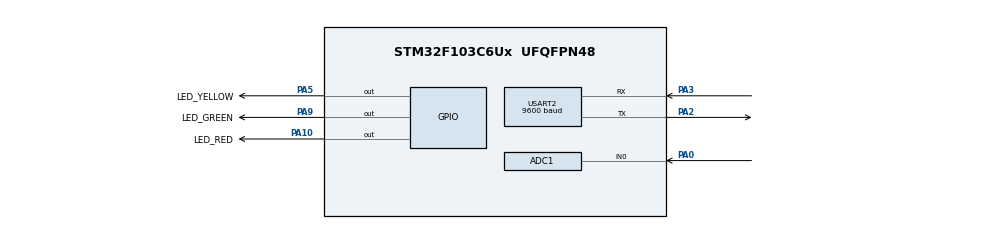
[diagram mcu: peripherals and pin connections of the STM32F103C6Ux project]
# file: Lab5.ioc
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ADC1.Channel-0\#ChannelRegularConversion=ADC_CHANNEL_0
ADC1.ContinuousConvMode=ENABLE
ADC1.NbrOfConversionFlag=1
ADC1.Rank-0\#ChannelRegularConversion=1
ADC1.SamplingTime-0\#ChannelRegularConversion=ADC_SAMPLETIME_1CYCLE_5
ADC1.master=1
Mcu.Family=STM32F1
Mcu.Name=STM32F103C6Ux
Mcu.Package=UFQFPN48
NVIC.PriorityGroup=NVIC_PRIORITYGROUP_4
NVIC.TIM2_IRQn=true\:0\:0\:false\:false\:true\:true\:true
NVIC.USART2_IRQn=true\:0\:0\:false\:false\:true\:true\:true
PA0-WKUP.Signal=ADCx_IN0
PA10.GPIO_Label=LED_RED
PA10.Signal=GPIO_Output
PA2.Mode=Asynchronous
PA2.Signal=USART2_TX
PA3.Mode=Asynchronous
PA3.Signal=USART2_RX
PA5.GPIO_Label=LED_YELLOW
PA5.Signal=GPIO_Output
PA9.GPIO_Label=LED_GREEN
PA9.Signal=GPIO_Output
ProjectManager.HeapSize=0x200
ProjectManager.StackSize=0x400
ProjectManager.TargetToolchain=STM32CubeIDE
RCC.APB1Freq_Value=8000000
RCC.APB2Freq_Value=8000000
SH.ADCx_IN0.0=ADC1_IN0,IN0
TIM2.Period=9
TIM2.Prescaler=7999
USART2.BaudRate=9600
USART2.VirtualMode=VM_ASYNC
VP_SYS_VS_ND.Mode=No_Debug
VP_TIM2_VS_ClockSourceINT.Mode=Internal
board=custom

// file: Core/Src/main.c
/* USER CODE BEGIN Header */
/**
  ******************************************************************************
  * @file           : main.c
  * @brief          : Main program body
  ******************************************************************************
  * @attention
  *
  * <h2><center>&copy; Copyright (c) 2024 STMicroelectronics.
  * All rights reserved.</center></h2>
  *
  * This software component is licensed by ST under BSD 3-Clause license,
  * the "License"; You may not use this file except in compliance with the
  * License. You may obtain a copy of the License at:
  *                        opensource.org/licenses/BSD-3-Clause
  *
  ******************************************************************************
  */
/* USER CODE END Header */
#include "main.h"

/* USER CODE BEGIN Includes */
#include "global.h"
/* USER CODE END Includes */

/* USER CODE BEGIN PM */
//#define MAX_BUFFER_SIZE		30
//#define	TIMEOUT				3000	//ms
/* USER CODE END PM */

ADC_HandleTypeDef hadc1;

TIM_HandleTypeDef htim2;

UART_HandleTypeDef huart2;

void SystemClock_Config(void);
static void MX_GPIO_Init(void);
static void MX_ADC1_Init(void);
static void MX_USART2_UART_Init(void);
static void MX_TIM2_Init(void);

/* USER CODE BEGIN 0 */

//uint8_t temp = 0;
void HAL_UART_RxCpltCallback(UART_HandleTypeDef *huart)
{

	if (huart->Instance == USART2) {
		buffer[index_buffer++] = temp;	// Add received byte to buffer
		if (index_buffer >= MAX_BUFFER_SIZE) {
			index_buffer = 0;	// Wrap around if buffer overflows
		}
		buffer_flag = 1;	// Signal new data in buffer
		HAL_UART_Receive_IT(&huart2, &temp, 1);		// Re-enable UART receive interrupt
	}

	//-------------Example code---------------------
//	if (huart->Instance == USART2) {
//		HAL_UART_Transmit(&huart2, &temp, 1, 50);
//		HAL_UART_Receive_IT(&huart2, &temp, 1);
//	}
	//-------------Example code---------------------
}
/* USER CODE END 0 */

int main(void)
{

  /* MCU Configuration--------------------------------------------------------*/

  /* Reset of all peripherals, Initializes the Flash interface and the Systick. */
  HAL_Init();

  /* Configure the system clock */
  SystemClock_Config();

  /* Initialize all configured peripherals */
  MX_GPIO_Init();
  MX_ADC1_Init();
  MX_USART2_UART_Init();
  MX_TIM2_Init();
  /* USER CODE BEGIN 2 */
  HAL_UART_Receive_IT(&huart2, &temp, 1);
  HAL_ADC_Start(&hadc1);
  HAL_TIM_Base_Start_IT(&htim2);
  /* USER CODE END 2 */

  /* Infinite loop */
  /* USER CODE BEGIN WHILE */

//  uint32_t ADC_value = 0;
//  char str[20];

  setTimerForWaitingOK(2000);
  while (1)
  {
    /* USER CODE END WHILE */

    /* USER CODE BEGIN 3 */

	  if (buffer_flag == 1) {
		  command_parser_fsm();		//Parse received buffer
		  buffer_flag = 0;

		  //test
		  HAL_GPIO_TogglePin(LED_YELLOW_GPIO_Port, LED_YELLOW_Pin);
	  }
	  uart_communication_fsm();
//
//	  HAL_Delay(500);

	  //---------------TEST TIMER-----------------------
//	  if (waitOK_flag == 1) {
//		  setTimerForWaitingOK(2000);
//		  //TODO:
//		  HAL_GPIO_TogglePin(LED_RED_GPIO_Port, LED_RED_Pin);
//	  }
	  //---------------TEST TIMER-----------------------

	  //---------------Example code--------------------------
//	  HAL_GPIO_TogglePin(LED_YELLOW_GPIO_Port, LED_YELLOW_Pin);
//	  ADC_value = HAL_ADC_GetValue(&hadc1);
//	  HAL_UART_Transmit(&huart2, (void*) str, sprintf(str, "!ADC=%ld#\r\n", ADC_value), 1000);
//	  HAL_Delay(500);
	  //---------------Example code--------------------------
  }
  /* USER CODE END 3 */
}

void SystemClock_Config(void)
{
  RCC_OscInitTypeDef RCC_OscInitStruct = {0};
  RCC_ClkInitTypeDef RCC_ClkInitStruct = {0};
  RCC_PeriphCLKInitTypeDef PeriphClkInit = {0};

  /** Initializes the RCC Oscillators according to the specified parameters
  * in the RCC_OscInitTypeDef structure.
  */
  RCC_OscInitStruct.OscillatorType = RCC_OSCILLATORTYPE_HSI;
  RCC_OscInitStruct.HSIState = RCC_HSI_ON;
  RCC_OscInitStruct.HSICalibrationValue = RCC_HSICALIBRATION_DEFAULT;
  RCC_OscInitStruct.PLL.PLLState = RCC_PLL_NONE;
  if (HAL_RCC_OscConfig(&RCC_OscInitStruct) != HAL_OK)
  {
    Error_Handler();
  }
  /** Initializes the CPU, AHB and APB buses clocks
  */
  RCC_ClkInitStruct.ClockType = RCC_CLOCKTYPE_HCLK|RCC_CLOCKTYPE_SYSCLK
                              |RCC_CLOCKTYPE_PCLK1|RCC_CLOCKTYPE_PCLK2;
  RCC_ClkInitStruct.SYSCLKSource = RCC_SYSCLKSOURCE_HSI;
  RCC_ClkInitStruct.AHBCLKDivider = RCC_SYSCLK_DIV1;
  RCC_ClkInitStruct.APB1CLKDivider = RCC_HCLK_DIV1;
  RCC_ClkInitStruct.APB2CLKDivider = RCC_HCLK_DIV1;

  if (HAL_RCC_ClockConfig(&RCC_ClkInitStruct, FLASH_LATENCY_0) != HAL_OK)
  {
    Error_Handler();
  }
  PeriphClkInit.PeriphClockSelection = RCC_PERIPHCLK_ADC;
  PeriphClkInit.AdcClockSelection = RCC_ADCPCLK2_DIV2;
  if (HAL_RCCEx_PeriphCLKConfig(&PeriphClkInit) != HAL_OK)
  {
    Error_Handler();
  }
}

static void MX_ADC1_Init(void)
{

  ADC_ChannelConfTypeDef sConfig = {0};

  /** Common config
  */
  hadc1.Instance = ADC1;
  hadc1.Init.ScanConvMode = ADC_SCAN_DISABLE;
  hadc1.Init.ContinuousConvMode = ENABLE;
  hadc1.Init.DiscontinuousConvMode = DISABLE;
  hadc1.Init.ExternalTrigConv = ADC_SOFTWARE_START;
  hadc1.Init.DataAlign = ADC_DATAALIGN_RIGHT;
  hadc1.Init.NbrOfConversion = 1;
  if (HAL_ADC_Init(&hadc1) != HAL_OK)
  {
    Error_Handler();
  }
  /** Configure Regular Channel
  */
  sConfig.Channel = ADC_CHANNEL_0;
  sConfig.Rank = ADC_REGULAR_RANK_1;
  sConfig.SamplingTime = ADC_SAMPLETIME_1CYCLE_5;
  if (HAL_ADC_ConfigChannel(&hadc1, &sConfig) != HAL_OK)
  {
    Error_Handler();
  }

}

static void MX_TIM2_Init(void)
{

  TIM_ClockConfigTypeDef sClockSourceConfig = {0};
  TIM_MasterConfigTypeDef sMasterConfig = {0};

  htim2.Instance = TIM2;
  htim2.Init.Prescaler = 7999;
  htim2.Init.CounterMode = TIM_COUNTERMODE_UP;
  htim2.Init.Period = 9;
  htim2.Init.ClockDivision = TIM_CLOCKDIVISION_DIV1;
  htim2.Init.AutoReloadPreload = TIM_AUTORELOAD_PRELOAD_DISABLE;
  if (HAL_TIM_Base_Init(&htim2) != HAL_OK)
  {
    Error_Handler();
  }
  sClockSourceConfig.ClockSource = TIM_CLOCKSOURCE_INTERNAL;
  if (HAL_TIM_ConfigClockSource(&htim2, &sClockSourceConfig) != HAL_OK)
  {
    Error_Handler();
  }
  sMasterConfig.MasterOutputTrigger = TIM_TRGO_RESET;
  sMasterConfig.MasterSlaveMode = TIM_MASTERSLAVEMODE_DISABLE;
  if (HAL_TIMEx_MasterConfigSynchronization(&htim2, &sMasterConfig) != HAL_OK)
  {
    Error_Handler();
  }

}

static void MX_USART2_UART_Init(void)
{

  huart2.Instance = USART2;
  huart2.Init.BaudRate = 9600;
  huart2.Init.WordLength = UART_WORDLENGTH_8B;
  huart2.Init.StopBits = UART_STOPBITS_1;
  huart2.Init.Parity = UART_PARITY_NONE;
  huart2.Init.Mode = UART_MODE_TX_RX;
  huart2.Init.HwFlowCtl = UART_HWCONTROL_NONE;
  huart2.Init.OverSampling = UART_OVERSAMPLING_16;
  if (HAL_UART_Init(&huart2) != HAL_OK)
  {
    Error_Handler();
  }

}

static void MX_GPIO_Init(void)
{
  GPIO_InitTypeDef GPIO_InitStruct = {0};

  /* GPIO Ports Clock Enable */
  __HAL_RCC_GPIOA_CLK_ENABLE();

  /*Configure GPIO pin Output Level */
  HAL_GPIO_WritePin(GPIOA, LED_YELLOW_Pin|LED_GREEN_Pin|LED_RED_Pin, GPIO_PIN_RESET);

  /*Configure GPIO pins : LED_YELLOW_Pin LED_GREEN_Pin LED_RED_Pin */
  GPIO_InitStruct.Pin = LED_YELLOW_Pin|LED_GREEN_Pin|LED_RED_Pin;
  GPIO_InitStruct.Mode = GPIO_MODE_OUTPUT_PP;
  GPIO_InitStruct.Pull = GPIO_NOPULL;
  GPIO_InitStruct.Speed = GPIO_SPEED_FREQ_LOW;
  HAL_GPIO_Init(GPIOA, &GPIO_InitStruct);

}

/* USER CODE BEGIN 4 */

//void command_parser_fsm() {
//    switch (cmd_state) {
//        case CMD_WAIT:
//            if (buffer[0] == '!') {
//                cmd_state = CMD_RECEIVING;
//                cmd_index = 0;
//            }
//
//            break;
//        case CMD_RECEIVING:
//            if (buffer[index_buffer - 1] == '#') {
//                cmd_state = CMD_DONE;
//                cmd_buffer[cmd_index++] = '\0'; // Kết thúc chuỗi
//            } else if (cmd_index < MAX_BUFFER_SIZE) {
//                cmd_buffer[cmd_index++] = buffer[index_buffer - 1];
//            } else {
//                cmd_state = CMD_WAIT; // Quá tải, reset
//            }
//            break;
//        case CMD_DONE:
//            // Xử lý lệnh
//            if (strcmp((char*)cmd_buffer, "RST") == 0) {
//                // Thực hiện lệnh RST
//            } else if (strcmp((char*)cmd_buffer, "OK") == 0) {
//                // Thực hiện lệnh OK
//            }
//            cmd_state = CMD_WAIT;
//            break;
//    }
//}
//
//            uint16_t adc_value = 0; // Lấy giá trị ADC
//            char adc_response[20];
//        	uint32_t currRed = 0;
//        	uint32_t prevRed = 0;
//        	uint32_t currGreen = 0;
//        	uint32_t prevGreen = 0;
//void uart_communication_fsm() {
//    switch (uart_state) {
//        case UART_IDLE:
//            if (strcmp((char*)cmd_buffer, "RST") == 0) {
//                uart_state = UART_SENDING;
//            }
//            break;
//        case UART_SENDING:
//        	currRed = HAL_GetTick();
//        	prevRed = 0;
//        	if (currRed - prevRed >= 500) {
//        		HAL_GPIO_TogglePin(LED_RED_GPIO_Port, LED_RED_Pin);
//        		prevRed = currRed;
//        	}
//
////            uint16_t adc_value = HAL_ADC_GetValue(&hadc1); // Lấy giá trị ADC
////            char adc_response[20];
//            adc_value = HAL_ADC_GetValue(&hadc1); // Lấy giá trị ADC
////            adc_response[20];
//            sprintf(adc_response, "!ADC=%d#\r\n", adc_value);
//            HAL_UART_Transmit(&huart2, (uint8_t*)adc_response, strlen(adc_response), HAL_MAX_DELAY);
//            timeout_start = HAL_GetTick(); // Lưu th�?i điểm bắt đầu ch�?
//            uart_state = UART_WAIT_OK;
//            break;
//        case UART_WAIT_OK:
//        	currGreen = HAL_GetTick();
//			prevGreen = 0;
//			if (currGreen - prevGreen >= 500) {
//				HAL_GPIO_TogglePin(LED_GREEN_GPIO_Port, LED_GREEN_Pin);
//				prevGreen = currGreen;
//			}
//
//
//            if (strcmp((char*)cmd_buffer, "OK") == 0) {
//                uart_state = UART_IDLE;
//                HAL_GPIO_WritePin(LED_RED_GPIO_Port, LED_RED_Pin, GPIO_PIN_RESET);
//            } else if (HAL_GetTick() - timeout_start > 3000) {
//                // Timeout, gửi lại dữ liệu
//                char resend_response[20];
//                sprintf(resend_response, "!ADC=%d#\r\n", adc_value);
//                HAL_UART_Transmit(&huart2, (uint8_t*)resend_response, strlen(resend_response), HAL_MAX_DELAY);
//                timeout_start = HAL_GetTick(); // Reset th�?i gian ch�?
//            }
//            break;
//    }
//}

//void send_adc_value(void)
//{
//	adc_value = HAL_ADC_GetValue(&hadc1);
//
//	sprintf(adc_response, "!ADC = %ld#\r\n", adc_value);
//	HAL_UART_Transmit(&huart2, (uint8_t *)adc_response, strlen(adc_response), 1000);
//}
/* USER CODE END 4 */

void Error_Handler(void)
{
  __disable_irq();
  while (1)
  {
  }
}

/************************ (C) COPYRIGHT STMicroelectronics *****END OF FILE****/
